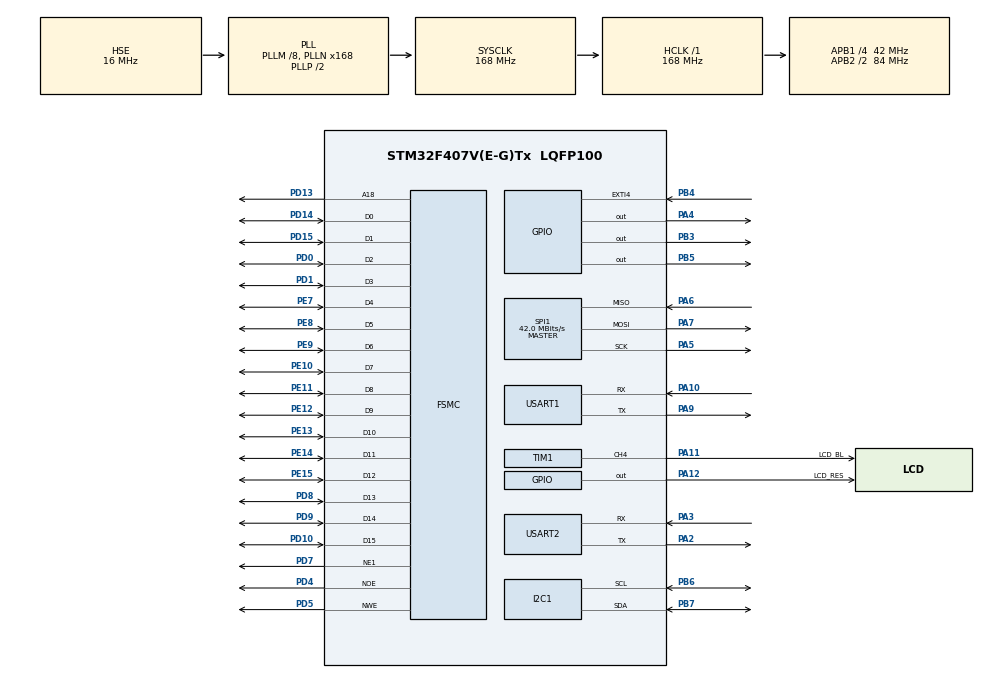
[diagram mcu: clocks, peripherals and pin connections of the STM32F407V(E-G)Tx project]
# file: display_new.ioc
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FSMC.AddressSetupTime1=15
FSMC.BusTurnAroundDuration1=0
FSMC.DataSetupTime1=40
FSMC.ExtendedAddressSetupTime1=2
FSMC.ExtendedBusTurnAroundDuration1=0
FSMC.ExtendedDataSetupTime1=4
FSMC.ExtendedMode1=FSMC_EXTENDED_MODE_ENABLE
FSMC.MemoryType1=FSMC_MEMORY_TYPE_SRAM
Mcu.Family=STM32F4
Mcu.Name=STM32F407V(E-G)Tx
Mcu.Package=LQFP100
NVIC.EXTI4_IRQn=true\:0\:0\:false\:false\:true\:true\:true\:true
NVIC.PriorityGroup=NVIC_PRIORITYGROUP_4
NVIC.USART1_IRQn=true\:0\:0\:false\:false\:true\:true\:true\:true
NVIC.USART2_IRQn=true\:0\:0\:false\:false\:true\:true\:true\:true
PA10.Mode=Asynchronous
PA10.Signal=USART1_RX
PA11.GPIO_Label=LCD_BL
PA11.Signal=S_TIM1_CH4
PA12.GPIO_Label=LCD_RES
PA12.GPIO_PuPd=GPIO_PULLUP
PA12.GPIO_Speed=GPIO_SPEED_FREQ_VERY_HIGH
PA12.Signal=GPIO_Output
PA2.Mode=Asynchronous
PA2.Signal=USART2_TX
PA3.Mode=Asynchronous
PA3.Signal=USART2_RX
PA4.Signal=GPIO_Output
PA5.Mode=Full_Duplex_Master
PA5.Signal=SPI1_SCK
PA6.Mode=Full_Duplex_Master
PA6.Signal=SPI1_MISO
PA7.Mode=Full_Duplex_Master
PA7.Signal=SPI1_MOSI
PA9.Mode=Asynchronous
PA9.Signal=USART1_TX
PB3.Signal=GPIO_Output
PB4.GPIO_PuPd=GPIO_PULLUP
PB4.Signal=GPXTI4
PB5.Signal=GPIO_Output
PB6.GPIO_Pu=GPIO_PULLUP
PB6.Mode=I2C
PB6.Signal=I2C1_SCL
PB7.GPIO_Pu=GPIO_PULLUP
PB7.Mode=I2C
PB7.Signal=I2C1_SDA
PD0.Mode=16b-d1
PD0.Signal=FSMC_D2
PD1.Mode=16b-d1
PD1.Signal=FSMC_D3
PD10.Mode=16b-d1
PD10.Signal=FSMC_D15
PD13.Mode=A18_1
PD13.Signal=FSMC_A18
PD14.Mode=16b-d1
PD14.Signal=FSMC_D0
PD15.Mode=16b-d1
PD15.Signal=FSMC_D1
PD4.Mode=Lcd1
PD4.Signal=FSMC_NOE
PD5.Mode=Lcd1
PD5.Signal=FSMC_NWE
PD7.Mode=NorPsramChipSelect1_1
PD7.Signal=FSMC_NE1
PD8.Mode=16b-d1
PD8.Signal=FSMC_D13
PD9.Mode=16b-d1
PD9.Signal=FSMC_D14
PE10.Mode=16b-d1
PE10.Signal=FSMC_D7
PE11.Mode=16b-d1
PE11.Signal=FSMC_D8
PE12.Mode=16b-d1
PE12.Signal=FSMC_D9
PE13.Mode=16b-d1
PE13.Signal=FSMC_D10
PE14.Mode=16b-d1
PE14.Signal=FSMC_D11
PE15.Mode=16b-d1
PE15.Signal=FSMC_D12
PE7.Mode=16b-d1
PE7.Signal=FSMC_D4
PE8.Mode=16b-d1
PE8.Signal=FSMC_D5
PE9.Mode=16b-d1
PE9.Signal=FSMC_D6
PH0-OSC_IN.Mode=HSE-External-Oscillator
PH0-OSC_IN.Signal=RCC_OSC_IN
PH1-OSC_OUT.Mode=HSE-External-Oscillator
PH1-OSC_OUT.Signal=RCC_OSC_OUT
ProjectManager.HeapSize=0x200
ProjectManager.StackSize=0x400
ProjectManager.TargetToolchain=STM32CubeIDE
RCC.48MHZClocksFreq_Value=84000000
RCC.AHBFreq_Value=168000000
RCC.APB1CLKDivider=RCC_HCLK_DIV4
RCC.APB1Freq_Value=42000000
RCC.APB1TimFreq_Value=84000000
RCC.APB2CLKDivider=RCC_HCLK_DIV2
RCC.APB2Freq_Value=84000000
RCC.APB2TimFreq_Value=168000000
RCC.CortexFreq_Value=168000000
RCC.HCLKFreq_Value=168000000
RCC.HSE_VALUE=16000000
RCC.HSI_VALUE=16000000
RCC.LSE_VALUE=32768
RCC.PLLM=8
RCC.PLLN=168
RCC.PLLSourceVirtual=RCC_PLLSOURCE_HSE
RCC.SYSCLKFreq_VALUE=168000000
RCC.SYSCLKSource=RCC_SYSCLKSOURCE_PLLCLK
RCC.VCOOutputFreq_Value=336000000
SH.S_TIM1_CH4.0=TIM1_CH4,PWM Generation4 CH4
SPI1.CLKPhase=SPI_PHASE_2EDGE
SPI1.CLKPolarity=SPI_POLARITY_HIGH
SPI1.CalculateBaudRate=42.0 MBits/s
SPI1.Direction=SPI_DIRECTION_2LINES
SPI1.Mode=SPI_MODE_MASTER
SPI1.VirtualType=VM_MASTER
TIM1.Channel-PWM\ Generation4\ CH4=TIM_CHANNEL_4
TIM1.Pulse-PWM\ Generation4\ CH4=65535
USART1.VirtualMode=VM_ASYNC
USART2.VirtualMode=VM_ASYNC
board=custom

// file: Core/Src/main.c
/* USER CODE BEGIN Header */
/**
  ******************************************************************************
  * @file           : main.c
  * @brief          : Main program body
  ******************************************************************************
  * @attention
  *
  * <h2><center>&copy; Copyright (c) 2022 STMicroelectronics.
  * All rights reserved.</center></h2>
  *
  * This software component is licensed by ST under BSD 3-Clause license,
  * the "License"; You may not use this file except in compliance with the
  * License. You may obtain a copy of the License at:
  *                        opensource.org/licenses/BSD-3-Clause
  *
  ******************************************************************************
  */
/* USER CODE END Header */
#include "main.h"

/* USER CODE BEGIN Includes */
#include <stm32f4xx_hal.h>
#include <stm32f4xx_hal_gpio.h>
#include "stm32f4xx_hal_i2c.h"
#include <stdio.h>
#include "uart.h"
#include "uartDemo.h"
#include "extFlash.h"
#include "extFlashDemo.h"
#include "LCD_driver.h"
#include "TOUCH_driver.h"

#include "configLib.h"
#include "configStructs.h"
#include "objectVisualization.h"
#include "bitmapCacheLib.h"
#include "extProcComm.h"

/* USER CODE END Includes */

I2C_HandleTypeDef hi2c1;
I2C_HandleTypeDef hi2c2;

SPI_HandleTypeDef hspi1;

TIM_HandleTypeDef htim1;

UART_HandleTypeDef huart1;
UART_HandleTypeDef huart2;

SRAM_HandleTypeDef hsram1;

/* USER CODE BEGIN PV */
//global list of bitmaps, used by bitmap cache library.
struct bitmapList globalBitmapList;
int notYetDrawnFlag = 1;
int currentScreen = 0;
struct generalConfig gConf;
/* USER CODE END PV */

void SystemClock_Config(void);
static void MX_GPIO_Init(void);
static void MX_FSMC_Init(void);
static void MX_USART1_UART_Init(void);
static void MX_I2C1_Init(void);
static void MX_USART2_UART_Init(void);
static void MX_SPI1_Init(void);
static void MX_TIM1_Init(void);
static void MX_I2C2_Init(void);
uint16_t maxObjects = 128;

int main(void)
{

  /* MCU Configuration--------------------------------------------------------*/

  /* Reset of all peripherals, Initializes the Flash interface and the Systick. */
  HAL_Init();

  /* Configure the system clock */
  SystemClock_Config();

  /* Initialize all configured peripherals */
  MX_GPIO_Init();
  MX_FSMC_Init();
  MX_USART1_UART_Init();
  MX_I2C1_Init();
  MX_USART2_UART_Init();
  MX_SPI1_Init();
  MX_TIM1_Init();
  /* USER CODE BEGIN 2 */

  //enable uart interrupt

  /* USER CODE END 2 */

  /* Infinite loop */
  /* USER CODE BEGIN WHILE */
  	  printf("Entering main loop\n\r");

	char str[] = "You fight \nlike a dairy\nfarmer!";
	drawStringToLcd5x7(250, 100, 3, 0xAA, 0, 0xFF, 3, 5, str);

	//arrays for holding object data loaded from flash

	uint16_t maxObjects = 128;
	uint16_t maxData = SECTOR_SIZE*4;
	struct screen screenHeader;
	struct object objArr[maxObjects];
	uint8_t dataArr[maxData];
	uint8_t *pointerArr[maxObjects];
	struct bitmap btimap_header;
	int objectsRead = 0;
	int loopNumber = 0;

	Init_LCD();
	touch_reset();
	touch_init(hi2c1);
	while (1)
	{

		loopNumber++;
		int configResult = 1; //1 = no data on uart
		if(loopNumber % 6000000 == 0)
		{
			 configResult = configFromUart(); //check if there's incoming data on config uart, if yes, attempt to read configuration
		}

		//redraw display
		if(notYetDrawnFlag || configResult != 1)
		{
			notYetDrawnFlag = 0;
			readGeneralConfig(&gConf);
			Init_LCD();
			touch_reset();
			touch_init(hi2c1);
			set_page(currentScreen);
			printf("Something changed. Redrawing display and updating bitmap list.\n\r");
			printf("Current screen is: %d\n\r",currentScreen);
			readBitmapList(&globalBitmapList);
			objectsRead = 0;
			if(currentScreen < gConf.totalScreens)
			{
				objectsRead = openScreen(gConf.screenSectors[currentScreen], &screenHeader, objArr, dataArr, pointerArr, maxData, maxObjects);
			}
			int i;
			for(i = 0; i<objectsRead; i++)
			{
				drawObjectToLcd(objArr[i], pointerArr[i], 0);
				touch_register_element(currentScreen,0,objArr[i],objArr[i].xstart,objArr[i].ystart,objArr[i].xend,objArr[i].yend,objArr[i].objectType,pointerArr[i], objArr[i].objectId);
				/*if(objArr[i].objectType==interactivelabel){
					char str1[] = "hello!";
					drawInteractiveLabelToLcd(objArr[i], pointerArr[i], str1);
				}*/
			}
			//touch_register_element(currentScreen,0,10,10,bitmap_header.xsize, bitmap_header.ysize,6,0);
		}
		//Demo: periodically redraw buttons, alternating between unpressed (0) and pressed (1) state. Feel free to remove this.
		//if(loopNumber % 10000000 == 0)
		//{
		//	int i;
		//	static int buttonsState = 0;
		//	buttonsState = !buttonsState;
		//	uint16_t slider_state = 100 * buttonsState;

		//	for(i = 0; i<objectsRead; i++)
		//	{
		//		struct object o = objArr[i];
		//		if(o.objectType == button || o.objectType == screenbutton)
		//		{
		//			drawObjectToLcd(o, pointerArr[i], buttonsState); // for slider button state will be interpreted as a value of slider pointer
		//		}
		//}

		if(loopNumber % 3000000 == 0){
			 handleIncomingProcessorMsg(screenHeader.objectCount , objArr, pointerArr);
		}

		touch_periodic_process();
		static int flashDone = 0;

		/* USER CODE END WHILE */

	}
}

void SystemClock_Config(void)
{
  RCC_OscInitTypeDef RCC_OscInitStruct = {0};
  RCC_ClkInitTypeDef RCC_ClkInitStruct = {0};

  /** Configure the main internal regulator output voltage
  */
  __HAL_RCC_PWR_CLK_ENABLE();
  __HAL_PWR_VOLTAGESCALING_CONFIG(PWR_REGULATOR_VOLTAGE_SCALE1);

  /** Initializes the RCC Oscillators according to the specified parameters
  * in the RCC_OscInitTypeDef structure.
  */
  RCC_OscInitStruct.OscillatorType = RCC_OSCILLATORTYPE_HSE;
  RCC_OscInitStruct.HSEState = RCC_HSE_ON;
  RCC_OscInitStruct.PLL.PLLState = RCC_PLL_ON;
  RCC_OscInitStruct.PLL.PLLSource = RCC_PLLSOURCE_HSE;
  RCC_OscInitStruct.PLL.PLLM = 8;
  RCC_OscInitStruct.PLL.PLLN = 168;
  RCC_OscInitStruct.PLL.PLLP = RCC_PLLP_DIV2;
  RCC_OscInitStruct.PLL.PLLQ = 4;

  if (HAL_RCC_OscConfig(&RCC_OscInitStruct) != HAL_OK)
  {
    Error_Handler();
  }

  /** Initializes the CPU, AHB and APB buses clocks
  */
  RCC_ClkInitStruct.ClockType = RCC_CLOCKTYPE_HCLK|RCC_CLOCKTYPE_SYSCLK
                              |RCC_CLOCKTYPE_PCLK1|RCC_CLOCKTYPE_PCLK2;
  RCC_ClkInitStruct.SYSCLKSource = RCC_SYSCLKSOURCE_PLLCLK;
  RCC_ClkInitStruct.AHBCLKDivider = RCC_SYSCLK_DIV1;
  RCC_ClkInitStruct.APB1CLKDivider = RCC_HCLK_DIV4;
  RCC_ClkInitStruct.APB2CLKDivider = RCC_HCLK_DIV2;

  if (HAL_RCC_ClockConfig(&RCC_ClkInitStruct, FLASH_LATENCY_5) != HAL_OK)
  {
    Error_Handler();
  }
}

static void MX_I2C1_Init(void)
{

  hi2c1.Instance = I2C1;
  hi2c1.Init.ClockSpeed = 100000;
  hi2c1.Init.DutyCycle = I2C_DUTYCYCLE_2;
  hi2c1.Init.OwnAddress1 = 0;
  hi2c1.Init.AddressingMode = I2C_ADDRESSINGMODE_7BIT;
  hi2c1.Init.DualAddressMode = I2C_DUALADDRESS_DISABLE;
  hi2c1.Init.OwnAddress2 = 0;
  hi2c1.Init.GeneralCallMode = I2C_GENERALCALL_DISABLE;
  hi2c1.Init.NoStretchMode = I2C_NOSTRETCH_DISABLE;
  if (HAL_I2C_Init(&hi2c1) != HAL_OK)
  {
    Error_Handler();
  }
  /* USER CODE BEGIN I2C1_Init 2 */
  __HAL_I2C_ENABLE(&hi2c1);
  /* USER CODE END I2C1_Init 2 */

}

static void MX_SPI1_Init(void)
{

  /* SPI1 parameter configuration*/
  hspi1.Instance = SPI1;
  hspi1.Init.Mode = SPI_MODE_MASTER;
  hspi1.Init.Direction = SPI_DIRECTION_2LINES;
  hspi1.Init.DataSize = SPI_DATASIZE_8BIT;
  hspi1.Init.CLKPolarity = SPI_POLARITY_HIGH;
  hspi1.Init.CLKPhase = SPI_PHASE_2EDGE;
  hspi1.Init.NSS = SPI_NSS_SOFT;
  hspi1.Init.BaudRatePrescaler = SPI_BAUDRATEPRESCALER_2;
  hspi1.Init.FirstBit = SPI_FIRSTBIT_MSB;
  hspi1.Init.TIMode = SPI_TIMODE_DISABLE;
  hspi1.Init.CRCCalculation = SPI_CRCCALCULATION_DISABLE;
  hspi1.Init.CRCPolynomial = 10;
  if (HAL_SPI_Init(&hspi1) != HAL_OK)
  {
    Error_Handler();
  }
  /* USER CODE BEGIN SPI1_Init 2 */
  __HAL_SPI_ENABLE(&hspi1);
  /* USER CODE END SPI1_Init 2 */

}

static void MX_TIM1_Init(void)
{

  TIM_MasterConfigTypeDef sMasterConfig = {0};
  TIM_OC_InitTypeDef sConfigOC = {0};
  TIM_BreakDeadTimeConfigTypeDef sBreakDeadTimeConfig = {0};

  htim1.Instance = TIM1;
  htim1.Init.Prescaler = 0;
  htim1.Init.CounterMode = TIM_COUNTERMODE_UP;
  htim1.Init.Period = 65535;
  htim1.Init.ClockDivision = TIM_CLOCKDIVISION_DIV1;
  htim1.Init.RepetitionCounter = 0;
  htim1.Init.AutoReloadPreload = TIM_AUTORELOAD_PRELOAD_DISABLE;
  if (HAL_TIM_PWM_Init(&htim1) != HAL_OK)
  {
    Error_Handler();
  }
  sMasterConfig.MasterOutputTrigger = TIM_TRGO_RESET;
  sMasterConfig.MasterSlaveMode = TIM_MASTERSLAVEMODE_DISABLE;
  if (HAL_TIMEx_MasterConfigSynchronization(&htim1, &sMasterConfig) != HAL_OK)
  {
    Error_Handler();
  }
  sConfigOC.OCMode = TIM_OCMODE_PWM1;
  sConfigOC.Pulse = 65535;
  sConfigOC.OCPolarity = TIM_OCPOLARITY_HIGH;
  sConfigOC.OCFastMode = TIM_OCFAST_DISABLE;
  sConfigOC.OCIdleState = TIM_OCIDLESTATE_RESET;
  sConfigOC.OCNIdleState = TIM_OCNIDLESTATE_RESET;
  if (HAL_TIM_PWM_ConfigChannel(&htim1, &sConfigOC, TIM_CHANNEL_4) != HAL_OK)
  {
    Error_Handler();
  }
  sBreakDeadTimeConfig.OffStateRunMode = TIM_OSSR_DISABLE;
  sBreakDeadTimeConfig.OffStateIDLEMode = TIM_OSSI_DISABLE;
  sBreakDeadTimeConfig.LockLevel = TIM_LOCKLEVEL_OFF;
  sBreakDeadTimeConfig.DeadTime = 0;
  sBreakDeadTimeConfig.BreakState = TIM_BREAK_DISABLE;
  sBreakDeadTimeConfig.BreakPolarity = TIM_BREAKPOLARITY_HIGH;
  sBreakDeadTimeConfig.AutomaticOutput = TIM_AUTOMATICOUTPUT_DISABLE;
  if (HAL_TIMEx_ConfigBreakDeadTime(&htim1, &sBreakDeadTimeConfig) != HAL_OK)
  {
    Error_Handler();
  }
  HAL_TIM_MspPostInit(&htim1);

}

static void MX_USART1_UART_Init(void)
{

  huart1.Instance = USART1;
  huart1.Init.BaudRate = 115200;
  huart1.Init.WordLength = UART_WORDLENGTH_8B;
  huart1.Init.StopBits = UART_STOPBITS_1;
  huart1.Init.Parity = UART_PARITY_NONE;
  huart1.Init.Mode = UART_MODE_TX_RX;
  huart1.Init.HwFlowCtl = UART_HWCONTROL_NONE;
  huart1.Init.OverSampling = UART_OVERSAMPLING_16;
  if (HAL_UART_Init(&huart1) != HAL_OK)
  {
    Error_Handler();
  }
  /* USER CODE BEGIN USART1_Init 2 */
  __HAL_UART_ENABLE_IT(&huart1, UART_IT_RXNE); //turn on rx interrupt forever
  /* USER CODE END USART1_Init 2 */

}

static void MX_USART2_UART_Init(void)
{

  huart2.Instance = USART2;
  huart2.Init.BaudRate = 115200;
  huart2.Init.WordLength = UART_WORDLENGTH_8B;
  huart2.Init.StopBits = UART_STOPBITS_1;
  huart2.Init.Parity = UART_PARITY_NONE;
  huart2.Init.Mode = UART_MODE_TX_RX;
  huart2.Init.HwFlowCtl = UART_HWCONTROL_NONE;
  huart2.Init.OverSampling = UART_OVERSAMPLING_16;
  if (HAL_UART_Init(&huart2) != HAL_OK)
  {
    Error_Handler();
  }
  /* USER CODE BEGIN USART2_Init 2 */
  __HAL_UART_ENABLE_IT(&huart2, UART_IT_RXNE); //turn on rx interrupt forever
  /* USER CODE END USART2_Init 2 */

}

static void MX_GPIO_Init(void)
{
  GPIO_InitTypeDef GPIO_InitStruct = {0};

  /* GPIO Ports Clock Enable */
  __HAL_RCC_GPIOH_CLK_ENABLE();
  __HAL_RCC_GPIOA_CLK_ENABLE();
  __HAL_RCC_GPIOE_CLK_ENABLE();
  __HAL_RCC_GPIOB_CLK_ENABLE();
  __HAL_RCC_GPIOD_CLK_ENABLE();

  /*Configure GPIO pin Output Level */
  HAL_GPIO_WritePin(GPIOA, GPIO_PIN_4|LCD_RES_Pin, GPIO_PIN_RESET);

  /*Configure GPIO pin Output Level */
  HAL_GPIO_WritePin(GPIOB, GPIO_PIN_3|GPIO_PIN_5, GPIO_PIN_RESET);

  /*Configure GPIO pin : PA4 */
  GPIO_InitStruct.Pin = GPIO_PIN_4;
  GPIO_InitStruct.Mode = GPIO_MODE_OUTPUT_PP;
  GPIO_InitStruct.Pull = GPIO_NOPULL;
  GPIO_InitStruct.Speed = GPIO_SPEED_FREQ_LOW;
  HAL_GPIO_Init(GPIOA, &GPIO_InitStruct);

  /*Configure GPIO pin : LCD_RES_Pin */
  GPIO_InitStruct.Pin = LCD_RES_Pin;
  GPIO_InitStruct.Mode = GPIO_MODE_OUTPUT_PP;
  GPIO_InitStruct.Pull = GPIO_PULLUP;
  GPIO_InitStruct.Speed = GPIO_SPEED_FREQ_VERY_HIGH;
  HAL_GPIO_Init(LCD_RES_GPIO_Port, &GPIO_InitStruct);

  /*Configure GPIO pins : PB3 PB5 */
  GPIO_InitStruct.Pin = GPIO_PIN_3|GPIO_PIN_5;
  GPIO_InitStruct.Mode = GPIO_MODE_OUTPUT_PP;
  GPIO_InitStruct.Pull = GPIO_NOPULL;
  GPIO_InitStruct.Speed = GPIO_SPEED_FREQ_LOW;
  HAL_GPIO_Init(GPIOB, &GPIO_InitStruct);

  /*Configure GPIO pin : PB4 */
  GPIO_InitStruct.Pin = GPIO_PIN_4;
  GPIO_InitStruct.Mode = GPIO_MODE_IT_RISING;
  GPIO_InitStruct.Pull = GPIO_PULLUP;
  HAL_GPIO_Init(GPIOB, &GPIO_InitStruct);

  /* EXTI interrupt init*/
  HAL_NVIC_SetPriority(EXTI4_IRQn, 0, 0);
  HAL_NVIC_EnableIRQ(EXTI4_IRQn);

}

/* FSMC initialization function */
static void MX_FSMC_Init(void)
{

  FSMC_NORSRAM_TimingTypeDef Timing = {0};
  FSMC_NORSRAM_TimingTypeDef ExtTiming = {0};

  /** Perform the SRAM1 memory initialization sequence
  */
  hsram1.Instance = FSMC_NORSRAM_DEVICE;
  hsram1.Extended = FSMC_NORSRAM_EXTENDED_DEVICE;
  /* hsram1.Init */
  hsram1.Init.NSBank = FSMC_NORSRAM_BANK1;
  hsram1.Init.DataAddressMux = FSMC_DATA_ADDRESS_MUX_DISABLE;
  hsram1.Init.MemoryType = FSMC_MEMORY_TYPE_SRAM;
  hsram1.Init.MemoryDataWidth = FSMC_NORSRAM_MEM_BUS_WIDTH_16;
  hsram1.Init.BurstAccessMode = FSMC_BURST_ACCESS_MODE_DISABLE;
  hsram1.Init.WaitSignalPolarity = FSMC_WAIT_SIGNAL_POLARITY_LOW;
  hsram1.Init.WrapMode = FSMC_WRAP_MODE_DISABLE;
  hsram1.Init.WaitSignalActive = FSMC_WAIT_TIMING_BEFORE_WS;
  hsram1.Init.WriteOperation = FSMC_WRITE_OPERATION_ENABLE;
  hsram1.Init.WaitSignal = FSMC_WAIT_SIGNAL_DISABLE;
  hsram1.Init.ExtendedMode = FSMC_EXTENDED_MODE_ENABLE;
  hsram1.Init.AsynchronousWait = FSMC_ASYNCHRONOUS_WAIT_DISABLE;
  hsram1.Init.WriteBurst = FSMC_WRITE_BURST_DISABLE;
  hsram1.Init.PageSize = FSMC_PAGE_SIZE_NONE;
  /* Timing */
  Timing.AddressSetupTime = 15;
  Timing.AddressHoldTime = 15;
  Timing.DataSetupTime = 40;
  Timing.BusTurnAroundDuration = 0;
  Timing.CLKDivision = 16;
  Timing.DataLatency = 17;
  Timing.AccessMode = FSMC_ACCESS_MODE_A;
  /* ExtTiming */
  ExtTiming.AddressSetupTime = 2;
  ExtTiming.AddressHoldTime = 15;
  ExtTiming.DataSetupTime = 4;
  ExtTiming.BusTurnAroundDuration = 0;
  ExtTiming.CLKDivision = 16;
  ExtTiming.DataLatency = 17;
  ExtTiming.AccessMode = FSMC_ACCESS_MODE_A;

  if (HAL_SRAM_Init(&hsram1, &Timing, &ExtTiming) != HAL_OK)
  {
    Error_Handler( );
  }

}

void Error_Handler(void)
{
  __disable_irq();
  while (1)
  {
  }
}
